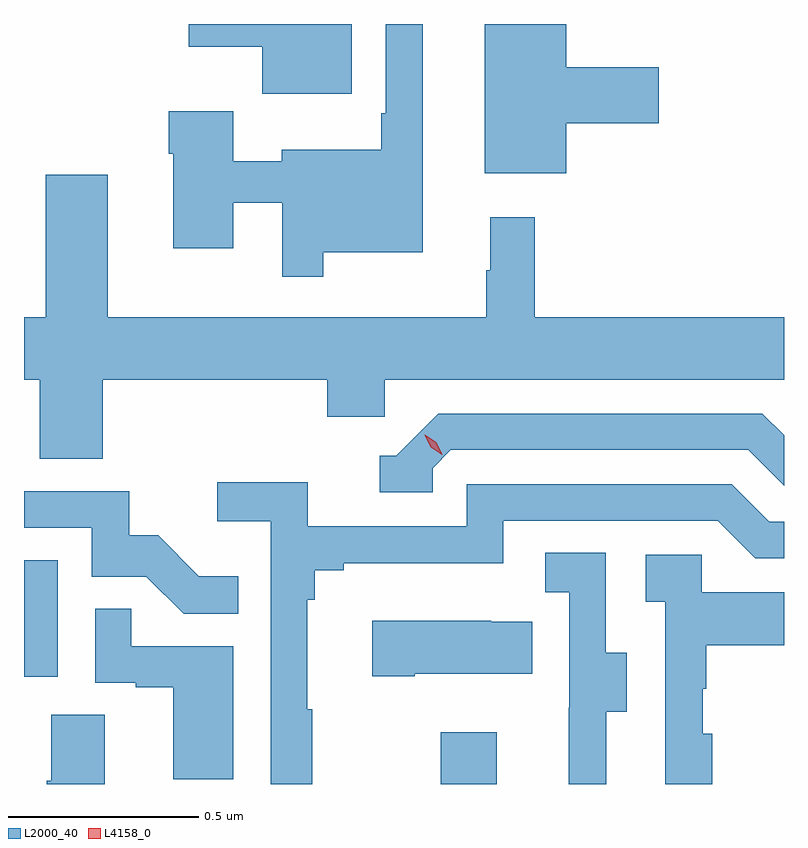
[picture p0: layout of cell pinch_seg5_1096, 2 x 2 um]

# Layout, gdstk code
import gdstk
lib = gdstk.Library(unit=1e-6, precision=1e-09)
def R(c, l, rs):  # rectangles x0, y0, x1, y1
    for r in rs: c.add(gdstk.rectangle(r[:2], r[2:], *l))
def P(c, l, *ps):  # polygons
    for p in ps: c.add(gdstk.Polygon(p, *l))
L2000_40 = (2000, 40)
L4158_0 = (4158, 0)

pinch_seg5_1096 = lib.new_cell('pinch_seg5_1096')
R(pinch_seg5_1096, L2000_40, [(837.376,867.684,837.523,867.82), (836.279,867.966,836.368,868.273)])
P(pinch_seg5_1096, L2000_40, [(837.067,869.084),(837.328,869.084),(837.328,869.684),(837.231,869.684),(837.231,869.449),(837.219,869.449),(837.219,869.353),(836.957,869.353),(836.957,869.323),(836.83,869.323),(836.83,869.455),(836.66,869.455),(836.66,869.342),(836.672,869.342),(836.672,869.094),(836.83,869.094),(836.83,869.214),(836.958,869.214),(836.958,869.019),(837.067,869.019)],
  [(837.142,869.684),(836.712,869.684),(836.712,869.624),(836.906,869.624),(836.906,869.501),(837.142,869.501)],
  [(837.706,869.423),(837.949,869.423),(837.949,869.57),(837.706,869.57),(837.706,869.684),(837.491,869.684),(837.491,869.291),(837.706,869.291)],
  [(836.486,868.748),(837.077,868.748),(837.077,868.65),(837.228,868.65),(837.228,868.748),(838.279,868.748),(838.279,868.912),(837.623,868.912),(837.623,869.176),(837.506,869.176),(837.506,869.036),(837.495,869.036),(837.495,868.912),(836.5,868.912),(836.5,869.287),(836.336,869.287),(836.336,868.912),(836.279,868.912),(836.279,868.748),(836.321,868.748),(836.321,868.54),(836.486,868.54)],
  [(837.354,868.515),(837.402,868.563),(838.185,868.563),(838.279,868.469),(838.279,868.602),(838.222,868.659),(837.369,868.659),(837.258,868.548),(837.215,868.548),(837.215,868.452),(837.354,868.452)],
  [(837.037,867.881),(837.025,867.881),(837.025,868.169),(837.044,868.169),(837.044,868.246),(837.121,868.246),(837.121,868.265),(837.54,868.265),(837.54,868.377),(838.104,868.377),(838.203,868.278),(838.279,868.278),(838.279,868.374),(838.24,868.374),(838.141,868.473),(837.444,868.473),(837.444,868.362),(837.026,868.362),(837.026,868.478),(836.787,868.478),(836.787,868.376),(836.928,868.376),(836.928,867.684),(837.037,867.684)],
  [(836.843,868.231),(836.739,868.231),(836.632,868.338),(836.556,868.338),(836.556,868.455),(836.279,868.455),(836.279,868.359),(836.457,868.359),(836.457,868.23),(836.601,868.23),(836.699,868.132),(836.843,868.132)],
  [(837.811,867.874),(837.865,867.874),(837.865,868.029),(837.81,868.029),(837.81,868.292),(837.651,868.292),(837.651,868.189),(837.714,868.189),(837.714,867.885),(837.713,867.885),(837.713,867.684),(837.811,867.684)],
  [(838.09,867.816),(838.065,867.816),(838.065,867.935),(838.075,867.935),(838.075,868.049),(838.279,868.049),(838.279,868.189),(838.062,868.189),(838.062,868.287),(837.915,868.287),(837.915,868.163),(837.966,868.163),(837.966,867.684),(838.09,867.684)],
  [(836.83,868.047),(836.561,868.047),(836.561,868.145),(836.466,868.145),(836.466,867.951),(836.573,867.951),(836.573,867.939),(836.672,867.939),(836.672,867.696),(836.83,867.696)],
  [(837.307,867.974),(837.617,867.974),(837.617,868.111),(837.509,868.111),(837.509,868.114),(837.195,868.114),(837.195,867.967),(837.307,867.967)],
  [(836.491,867.866),(836.351,867.866),(836.351,867.692),(836.339,867.692),(836.339,867.684),(836.491,867.684)])
P(pinch_seg5_1096, L4158_0, [(837.379,868.55),(837.349,868.57),(837.333,868.603),(837.333,868.603),(837.333,868.603),(837.364,868.583),(837.38,868.55),(837.38,868.55)])

lib.write_gds('pinch_seg5_1096.gds')
